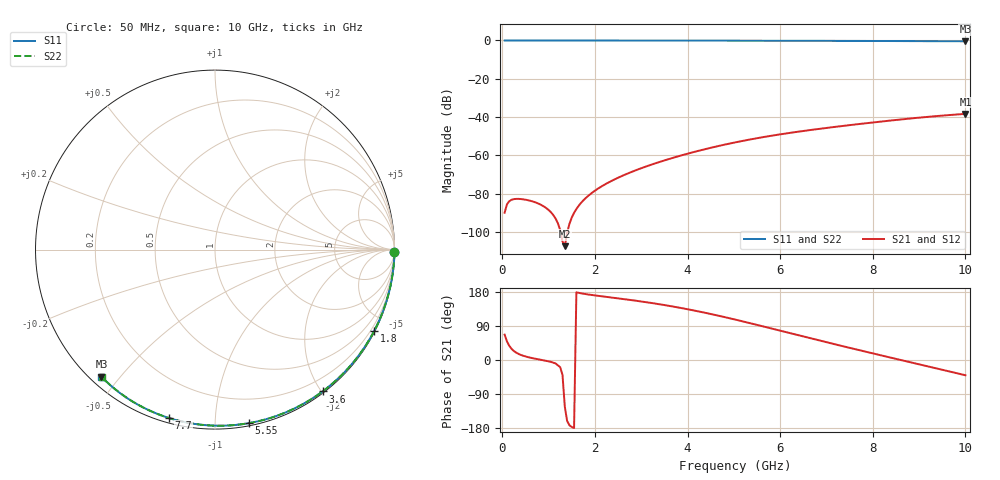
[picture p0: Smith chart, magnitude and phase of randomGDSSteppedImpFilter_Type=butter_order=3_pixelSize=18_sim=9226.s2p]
! freq	dB(S11)	phase(S11)	dB(S12)	phase(S12)
!  dB(S21)	phase(S21)	dB(S22)	phase(S22)
!S-par simulation data
#  GHz  S  DB  R 50
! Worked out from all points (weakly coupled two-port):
!   200 points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, 50 MHz to 10 GHz, reference 50 ohm
!   highest |S21| = -38.33 dB at 10 GHz (marker M1); lowest = -107.4 dB at 1.35 GHz (marker M2)
!   lowest |S11| = -0.4 dB at 10 GHz (marker M3), VSWR 39.15, Z = 1.53 - j22.4 ohm
!   |S11| at or under -10 dB: nowhere
!   |S22| runs from -0.4 to 0.0 dB; largest |S21 - S12| = 0
!   S11 on the Smith chart (normalised r, x): 50 MHz: open; 1.8 GHz: 0.04, -4.16; 3.6 GHz: 0.02, -2.01; 5.55 GHz: 0.02, -1.22; 7.7 GHz: 0.02, -0.76; 10 GHz: 0.03, -0.45
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0.05  -0.00 -0.8  -89.91 66.9  -89.91 66.9  -0.00 -0.8
0.7  -0.01 -10.6  -84.37 3.6  -84.37 3.6  -0.01 -10.6
1.35  -0.03 -20.4  -107.36 -123.3  -107.36 -123.3  -0.03 -20.3
1.75  -0.03 -26.3  -83.47 174.9  -83.47 174.9  -0.03 -26.3
1.8  -0.03 -27.0  -82.29 173.9  -82.29 173.9  -0.03 -27.0
1.9  -0.04 -28.5  -80.21 172.1  -80.21 172.1  -0.04 -28.5
2.1  -0.04 -31.4  -76.81 168.9  -76.81 168.9  -0.04 -31.4
2.25  -0.04 -33.6  -74.67 166.6  -74.67 166.6  -0.04 -33.6
2.45  -0.05 -36.5  -72.20 163.5  -72.20 163.5  -0.05 -36.5
2.65  -0.05 -39.4  -70.02 160.4  -70.02 160.4  -0.05 -39.3
3  -0.06 -44.4  -66.68 154.5  -66.68 154.5  -0.06 -44.3
3.4  -0.07 -50.0  -63.37 147.0  -63.37 147.0  -0.07 -50.0
3.6  -0.07 -52.8  -61.87 142.9  -61.87 142.9  -0.07 -52.8
4.3  -0.09 -62.4  -57.21 126.7  -57.21 126.7  -0.09 -62.4
5.05  -0.11 -72.4  -53.09 106.1  -53.09 106.1  -0.11 -72.3
5.55  -0.13 -78.9  -50.80 91.2  -50.80 91.2  -0.13 -78.8
6.1  -0.15 -85.8  -48.63 74.3  -48.63 74.3  -0.15 -85.8
6.7  -0.18 -93.3  -46.59 55.9  -46.59 55.9  -0.18 -93.2
7.7  -0.24 -105.3  -43.63 26.2  -43.63 26.2  -0.24 -105.2
8.35  -0.29 -112.9  -41.88 7.3  -41.88 7.3  -0.29 -112.8
9.25  -0.36 -123.3  -39.73 -18.8  -39.73 -18.8  -0.37 -123.1
10  -0.44 -131.8  -38.33 -40.2  -38.33 -40.2  -0.45 -131.6
